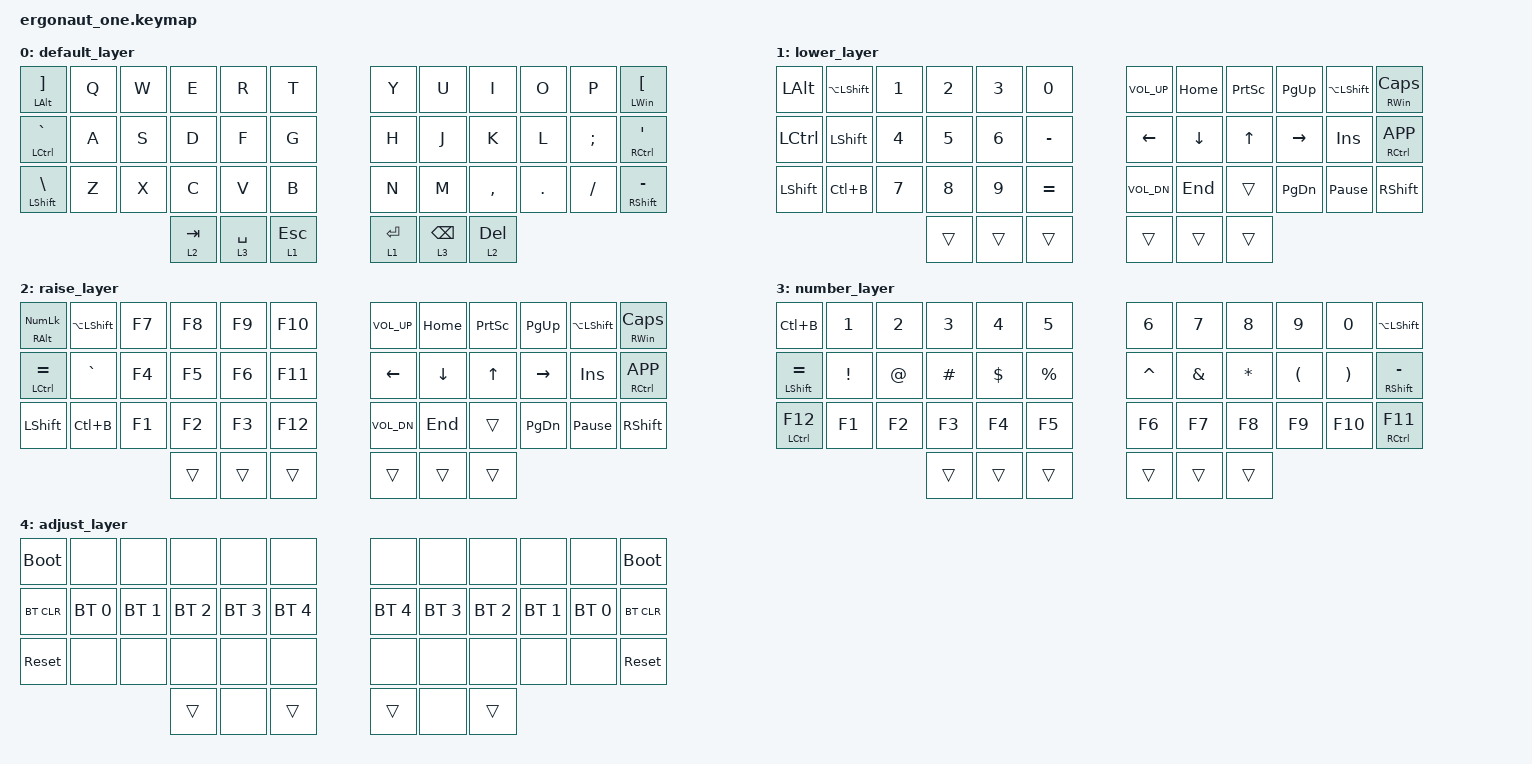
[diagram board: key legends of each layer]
#include <behaviors.dtsi>
#include <dt-bindings/zmk/bt.h>
#include <dt-bindings/zmk/keys.h>

#define DEF 0
#define LWR 1
#define RSE 2
#define ADJ 3

&lt { quick-tap-ms = <200>; };

&mt { quick-tap-ms = <220>; };

/ {
    behaviors {
        ht: ht {
            compatible = "zmk,behavior-hold-tap";
            label = "HT";
            bindings = <&kp>, <&kp>;

            #binding-cells = <2>;
            tapping-term-ms = <220>;
            quick-tap-ms = <220>;
            flavor = "tap-preferred";
        };
    };

    keymap {
        compatible = "zmk,keymap";

        default_layer {
            bindings = <
&ht LALT RBKT         &kp Q  &kp W  &kp E      &kp R        &kp T      &kp Y        &kp U            &kp I      &kp O    &kp P     &ht LWIN LEFT_BRACKET
&mt LCTRL GRAVE       &kp A  &kp S  &kp D      &kp F        &kp G      &kp H        &kp J            &kp K      &kp L    &kp SEMI  &ht RCTRL SQT
&mt LSHIFT BACKSLASH  &kp Z  &kp X  &kp C      &kp V        &kp B      &kp N        &kp M            &kp COMMA  &kp DOT  &kp FSLH  &ht RSHIFT MINUS
                                    &lt 2 TAB  &lt 3 SPACE  &lt 1 ESC  &lt 1 ENTER  &lt 3 BACKSPACE  &lt 2 DEL
            >;
        };

        lower_layer {
            bindings = <
&kp LEFT_ALT    &kp LA(LSHIFT)  &kp N1  &kp N2  &kp N3  &kp N0     &kp C_VOL_UP  &kp HOME  &kp PSCRN  &kp PG_UP  &kp LA(LEFT_SHIFT)  &mt RWIN CAPS
&kp LCTRL       &kp LSHIFT      &kp N4  &kp N5  &kp N6  &kp MINUS  &kp LEFT      &kp DOWN  &kp UP     &kp RIGHT  &kp INS             &mt RCTRL K_APP
&kp LEFT_SHIFT  &kp LC(B)       &kp N7  &kp N8  &kp N9  &kp EQUAL  &kp C_VOL_DN  &kp END   &trans     &kp PG_DN  &kp PAUSE_BREAK     &kp RSHFT
                                        &trans  &trans  &trans     &trans        &trans    &trans
            >;
        };

        raise_layer {
            bindings = <
&mt RALT KP_NUM  &kp LA(LSHIFT)  &kp F7  &kp F8  &kp F9  &kp F10  &kp C_VOL_UP  &kp HOME  &kp PSCRN  &kp PG_UP  &kp LA(LEFT_SHIFT)  &mt RWIN CAPS
&mt LCTRL EQUAL  &kp GRAVE       &kp F4  &kp F5  &kp F6  &kp F11  &kp LEFT      &kp DOWN  &kp UP     &kp RIGHT  &kp INS             &mt RCTRL K_APP
&kp LSHIFT       &kp LC(B)       &kp F1  &kp F2  &kp F3  &kp F12  &kp C_VOL_DN  &kp END   &trans     &kp PG_DN  &kp PAUSE_BREAK     &kp RSHIFT
                                         &trans  &trans  &trans   &trans        &trans    &trans
            >;
        };

        number_layer {
            bindings = <
&kp LC(B)         &kp N1    &kp N2  &kp N3    &kp N4    &kp N5     &kp N6     &kp N7    &kp N8    &kp N9    &kp N0    &kp LA(LSHFT)
&mt LSHIFT EQUAL  &kp EXCL  &kp AT  &kp HASH  &kp DLLR  &kp PRCNT  &kp CARET  &kp AMPS  &kp STAR  &kp LPAR  &kp RPAR  &mt RSHIFT MINUS
&mt LCTRL F12     &kp F1    &kp F2  &kp F3    &kp F4    &kp F5     &kp F6     &kp F7    &kp F8    &kp F9    &kp F10   &mt RCTRL F11
                                    &trans    &trans    &trans     &trans     &trans    &trans
            >;
        };

        adjust_layer {
            bindings = <
&bootloader  &none         &none         &none         &none         &none         &none         &none         &none         &none         &none         &bootloader
&bt BT_CLR   &bt BT_SEL 0  &bt BT_SEL 1  &bt BT_SEL 2  &bt BT_SEL 3  &bt BT_SEL 4  &bt BT_SEL 4  &bt BT_SEL 3  &bt BT_SEL 2  &bt BT_SEL 1  &bt BT_SEL 0  &bt BT_CLR
&sys_reset   &none         &none         &none         &none         &none         &none         &none         &none         &none         &none         &sys_reset
                                         &trans        &none         &trans        &trans        &none         &trans
            >;
        };
    };

    conditional_layers {
        compatible = "zmk,conditional-layers";

        adjust {
            if-layers = <1 2>;
            then-layer = <4>;
        };
    };
};
